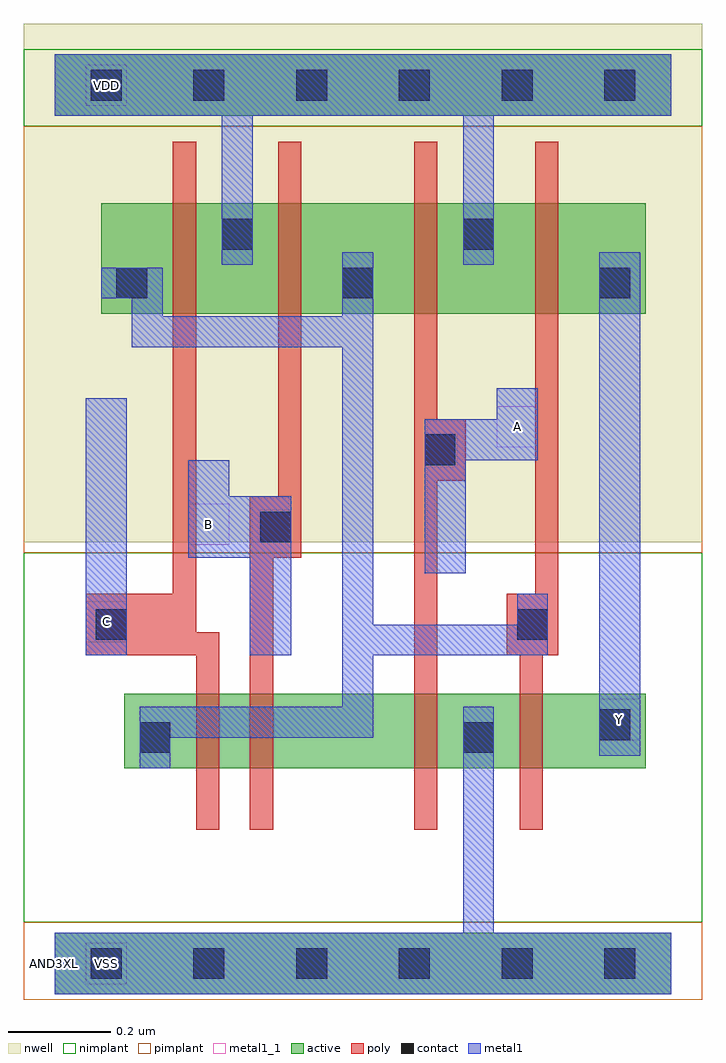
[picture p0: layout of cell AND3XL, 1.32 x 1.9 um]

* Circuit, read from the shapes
.subckt AND3XL A B C VDD VSS Y
M1 n1 C n2 VSS nfet w=0.145u l=0.045u
M2 n3 B n1 VSS nfet w=0.145u l=0.045u
M3 VSS A n3 VSS nfet w=0.145u l=0.045u
M4 Y n2 VSS VSS nfet w=0.145u l=0.045u
M5 VDD C n2 VDD pfet w=0.215u l=0.045u
M6 n2 B VDD VDD pfet w=0.215u l=0.045u
M7 VDD A n2 VDD pfet w=0.215u l=0.045u
M8 Y n2 VDD VDD pfet w=0.215u l=0.045u
.ends

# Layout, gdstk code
import gdstk
lib = gdstk.Library(unit=1e-6, precision=5e-10)
def R(c, l, rs):  # rectangles x0, y0, x1, y1
    for r in rs: c.add(gdstk.rectangle(r[:2], r[2:], *l))
def A(c, l, x, y, w, h, nx, ny, dx, dy):  # array of equal rectangles
    R(c, l, [(x+i*dx, y+j*dy, x+i*dx+w, y+j*dy+h) for i in range(nx) for j in range(ny)])
def P(c, l, *ps):  # polygons
    for p in ps: c.add(gdstk.Polygon(p, *l))
active = (1, 0)
nwell = (2, 0)
poly = (3, 0)
nimplant = (4, 0)
pimplant = (5, 0)
contact = (6, 0)
metal1 = (7, 0)
metal1_1 = (7, 1)

and3xl = lib.new_cell('AND3XL')
R(and3xl, active, [(0,-0.06,1.2,0.06), (0.135,0.38,1.15,0.525), (0.09,1.265,1.15,1.48), (0,1.65,1.2,1.77)])
R(and3xl, nwell, [(-0.06,0.82,1.26,1.83)])
P(and3xl, poly, [(0.23,1.6),(0.275,1.6),(0.275,0.645),(0.32,0.645),(0.32,0.26),(0.275,0.26),(0.275,0.6),(0.06,0.6),(0.06,0.72),(0.23,0.72)],
  [(0.435,1.6),(0.48,1.6),(0.48,0.79),(0.425,0.79),(0.425,0.26),(0.38,0.26),(0.38,0.91),(0.435,0.91)],
  [(0.7,1.6),(0.745,1.6),(0.745,1.06),(0.8,1.06),(0.8,0.94),(0.745,0.94),(0.745,0.26),(0.7,0.26)],
  [(0.935,1.6),(0.98,1.6),(0.98,0.6),(0.95,0.6),(0.95,0.26),(0.905,0.26),(0.905,0.6),(0.88,0.6),(0.88,0.72),(0.935,0.72)])
R(and3xl, nimplant, [(-0.06,0.08,1.26,0.8), (-0.06,1.63,1.26,1.78)])
R(and3xl, pimplant, [(-0.06,-0.07,1.26,0.08), (-0.06,0.8,1.26,1.63)])
A(and3xl, contact, 0.07, -0.03, 0.06, 0.06, 6, 2, 0.2, 1.71)
R(and3xl, contact, [(0.165,0.41,0.225,0.47), (0.795,0.41,0.855,0.47), (1.06,0.435,1.12,0.495), (0.08,0.63,0.14,0.69), (0.9,0.63,0.96,0.69), (0.4,0.82,0.46,0.88), (0.72,0.97,0.78,1.03), (0.12,1.295,0.18,1.355), (0.56,1.295,0.62,1.355), (1.06,1.295,1.12,1.355), (0.325,1.39,0.385,1.45), (0.795,1.39,0.855,1.45)])
R(and3xl, metal1, [(1.06,0.405,1.14,1.385), (0.06,0.6,0.14,1.1)])
P(and3xl, metal1, [(0,1.77),(1.2,1.77),(1.2,1.65),(0.855,1.65),(0.855,1.36),(0.795,1.36),(0.795,1.65),(0.385,1.65),(0.385,1.36),(0.325,1.36),(0.325,1.65),(0,1.65)],
  [(0.09,1.355),(0.21,1.355),(0.21,1.26),(0.56,1.26),(0.56,1.385),(0.62,1.385),(0.62,0.66),(0.9,0.66),(0.9,0.72),(0.96,0.72),(0.96,0.6),(0.62,0.6),(0.62,0.44),(0.225,0.44),(0.225,0.38),(0.165,0.38),(0.165,0.5),(0.56,0.5),(0.56,1.2),(0.15,1.2),(0.15,1.295),(0.09,1.295)],
  [(0.26,0.98),(0.34,0.98),(0.34,0.91),(0.46,0.91),(0.46,0.6),(0.38,0.6),(0.38,0.79),(0.26,0.79)],
  [(0.86,1.12),(0.94,1.12),(0.94,0.98),(0.8,0.98),(0.8,0.76),(0.72,0.76),(0.72,1.06),(0.86,1.06)],
  [(0.795,0.5),(0.855,0.5),(0.855,0.06),(1.2,0.06),(1.2,-0.06),(0,-0.06),(0,0.06),(0.795,0.06)])
R(and3xl, metal1_1, [(0.06,-0.04,0.14,0.04), (1.06,0.435,1.14,0.515), (0.06,0.625,0.14,0.705), (0.26,0.815,0.34,0.895), (0.86,1.005,0.94,1.085), (0.06,1.67,0.14,1.75)])
and3xl.add(gdstk.Label('Y', (1.1,0.475), layer=7, texttype=1))
and3xl.add(gdstk.Label('A', (0.9,1.045), layer=7, texttype=1))
and3xl.add(gdstk.Label('B', (0.3,0.855), layer=7, texttype=1))
and3xl.add(gdstk.Label('C', (0.1,0.665), layer=7, texttype=1))
and3xl.add(gdstk.Label('VDD', (0.1,1.71), layer=7, texttype=1))
and3xl.add(gdstk.Label('VSS', (0.1,0), layer=7, texttype=1))
and3xl.add(gdstk.Label('AND3XL', (0,0), layer=63, texttype=0))

lib.write_gds('AND3XL.gds')
